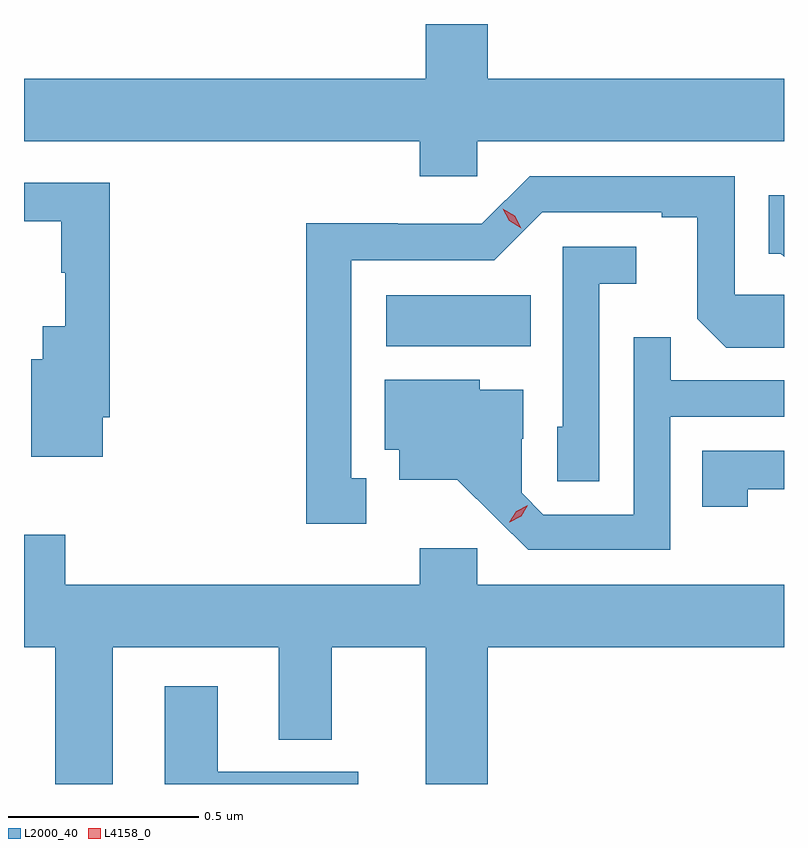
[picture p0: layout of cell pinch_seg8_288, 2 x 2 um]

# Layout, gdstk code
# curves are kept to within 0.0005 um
import gdstk
lib = gdstk.Library(unit=1e-6, precision=1e-09)
def R(c, l, rs):  # rectangles x0, y0, x1, y1
    for r in rs: c.add(gdstk.rectangle(r[:2], r[2:], *l))
def P(c, l, *ps):  # polygons
    for p in ps: c.add(gdstk.Polygon(p, *l))
L2000_40 = (2000, 40)
L4158_0 = (4158, 0)

pinch_seg8_288 = lib.new_cell('pinch_seg8_288')
R(pinch_seg8_288, L2000_40, [(512.556,1135.94,512.936,1136.074)])
P(pinch_seg8_288, L2000_40, [(512.796,1136.48),(513.603,1136.48),(513.603,1136.644),(512.824,1136.644),(512.824,1136.788),(512.66,1136.788),(512.66,1136.644),(511.603,1136.644),(511.603,1136.48),(512.645,1136.48),(512.645,1136.387),(512.796,1136.387)],
  [(512.503,1135.593),(512.464,1135.593),(512.464,1136.166),(512.841,1136.166),(512.967,1136.292),(513.281,1136.292),(513.281,1136.28),(513.375,1136.28),(513.375,1136.012),(513.451,1135.936),(513.603,1135.936),(513.603,1136.076),(513.474,1136.076),(513.474,1136.388),(512.934,1136.388),(512.808,1136.262),(512.586,1136.262),(512.586,1136.264),(512.346,1136.264),(512.346,1135.473),(512.503,1135.473)],
  [(511.81,1135.753),(511.829,1135.753),(511.829,1136.37),(511.603,1136.37),(511.603,1136.269),(511.701,1136.269),(511.701,1136.133),(511.712,1136.133),(511.712,1135.993),(511.652,1135.993),(511.652,1135.906),(511.622,1135.906),(511.622,1135.649),(511.81,1135.649)],
  [(513.603,1136.338),(513.563,1136.338),(513.563,1136.184),(513.594,1136.184),(513.603,1136.175)],
  [(513.117,1136.105),(513.214,1136.105),(513.214,1136.202),(513.021,1136.202),(513.021,1135.728),(513.006,1135.728),(513.006,1135.585),(513.117,1135.585)],
  [(513.303,1135.755),(513.603,1135.755),(513.603,1135.851),(513.305,1135.851),(513.305,1135.964),(513.207,1135.964),(513.207,1135.497),(512.97,1135.497),(512.913,1135.554),(512.913,1135.696),(512.917,1135.696),(512.917,1135.825),(512.802,1135.825),(512.802,1135.852),(512.552,1135.852),(512.552,1135.668),(512.591,1135.668),(512.591,1135.589),(512.743,1135.589),(512.93,1135.404),(513.303,1135.404)],
  [(513.507,1135.564),(513.603,1135.564),(513.603,1135.665),(513.388,1135.665),(513.388,1135.518),(513.507,1135.518)],
  [(512.796,1135.408),(512.645,1135.408),(512.645,1135.312),(511.712,1135.312),(511.712,1135.444),(511.603,1135.444),(511.603,1135.148),(511.685,1135.148),(511.685,1134.788),(511.837,1134.788),(511.837,1135.148),(512.273,1135.148),(512.273,1134.905),(512.413,1134.905),(512.413,1135.148),(512.66,1135.148),(512.66,1134.788),(512.824,1134.788),(512.824,1135.148),(513.603,1135.148),(513.603,1135.312),(512.796,1135.312)],
  [(512.483,1134.82),(512.113,1134.82),(512.113,1135.045),(511.973,1135.045),(511.973,1134.788),(512.483,1134.788)])
P(pinch_seg8_288, L4158_0, [(512.88,1135.477),(512.88,1135.477),(512.898,1135.506),(512.929,1135.521),(512.929,1135.521),(512.929,1135.521),(512.912,1135.492),(512.881,1135.477)],
  [(512.912,1136.251),(512.88,1136.27),(512.863,1136.302),(512.863,1136.302),(512.863,1136.302),(512.895,1136.283),(512.912,1136.251),(512.912,1136.251)])

lib.write_gds('pinch_seg8_288.gds')
